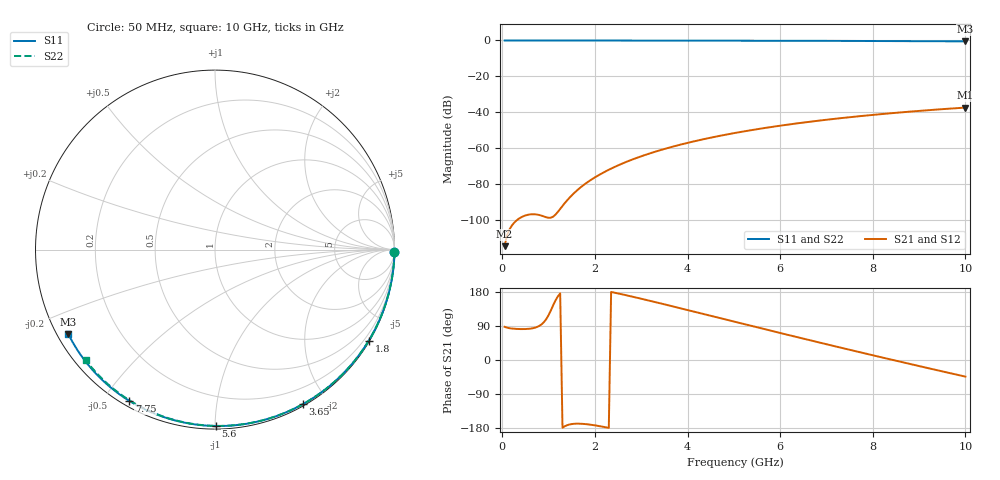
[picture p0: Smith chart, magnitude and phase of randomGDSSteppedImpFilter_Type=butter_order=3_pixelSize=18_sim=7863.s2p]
! freq	dB(S11)	phase(S11)	dB(S12)	phase(S12)
!  dB(S21)	phase(S21)	dB(S22)	phase(S22)
!S-par simulation data
#  GHz  S  DB  R 50
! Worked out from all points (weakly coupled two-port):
!   200 points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, 50 MHz to 10 GHz, reference 50 ohm
!   highest |S21| = -37.47 dB at 10 GHz (marker M1); lowest = -114.9 dB at 50 MHz (marker M2)
!   lowest |S11| = -0.5 dB at 10 GHz (marker M3), VSWR 34.11, Z = 1.57 - j13.4 ohm
!   |S11| at or under -10 dB: nowhere
!   |S22| runs from -0.5 to 0.0 dB; largest |S21 - S12| = 0
!   S11 on the Smith chart (normalised r, x): 50 MHz: open; 1.8 GHz: 0.03, -3.66; 3.65 GHz: 0.02, -1.72; 5.6 GHz: 0.02, -1.01; 7.75 GHz: 0.02, -0.58; 10 GHz: 0.03, -0.27
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0.05  -0.00 -0.9  -114.86 87.5  -114.86 87.5  -0.00 -0.8
0.45  -0.01 -7.8  -98.20 81.6  -98.20 81.6  -0.01 -7.3
0.9  -0.02 -15.4  -98.29 100.1  -98.29 100.1  -0.02 -14.5
1.75  -0.04 -29.8  -80.84 -168.6  -80.84 -168.6  -0.04 -27.9
1.8  -0.04 -30.6  -79.87 -169.2  -79.87 -169.2  -0.04 -28.7
1.95  -0.04 -33.1  -77.25 -171.5  -77.25 -171.5  -0.04 -31.0
2.1  -0.05 -35.6  -74.93 -174.5  -74.93 -174.5  -0.04 -33.3
2.3  -0.05 -38.8  -72.18 -179.2  -72.18 -179.2  -0.05 -36.4
2.5  -0.05 -42.1  -69.75 175.7  -69.75 175.7  -0.05 -39.5
2.9  -0.06 -48.6  -65.59 164.6  -65.59 164.6  -0.06 -45.5
3.4  -0.07 -56.5  -61.34 149.9  -61.34 149.9  -0.07 -53.0
3.65  -0.08 -60.4  -59.51 142.4  -59.51 142.4  -0.08 -56.7
4.3  -0.10 -70.4  -55.39 122.8  -55.39 122.8  -0.09 -66.1
5.05  -0.13 -81.6  -51.53 100.0  -51.53 100.0  -0.12 -76.6
5.6  -0.15 -89.6  -49.15 83.3  -49.15 83.3  -0.14 -84.1
6.15  -0.17 -97.5  -47.05 66.8  -47.05 66.8  -0.16 -91.5
6.7  -0.20 -105.2  -45.20 50.4  -45.20 50.4  -0.19 -98.6
7.2  -0.24 -112.1  -43.69 35.7  -43.69 35.7  -0.22 -105.1
7.75  -0.28 -119.5  -42.19 19.7  -42.19 19.7  -0.26 -112.0
8.35  -0.33 -127.6  -40.73 2.4  -40.73 2.4  -0.31 -119.4
9.2  -0.41 -139.1  -38.93 -21.6  -38.93 -21.6  -0.38 -129.8
10  -0.51 -150.0  -37.47 -43.9  -37.47 -43.9  -0.47 -139.6
